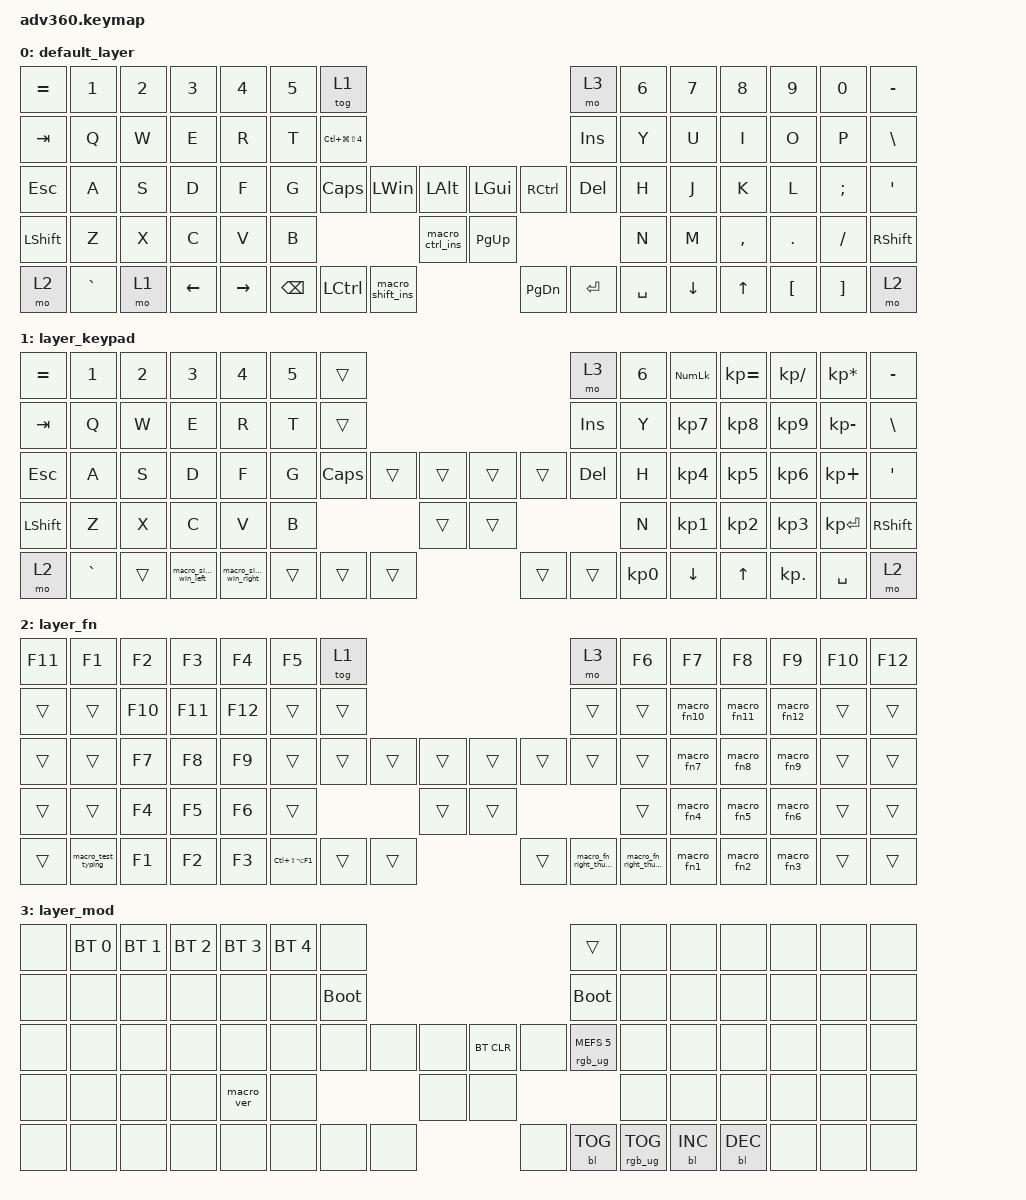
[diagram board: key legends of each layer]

/*
 * Copyright (c) 2020 The ZMK Contributors
 *
 * SPDX-License-Identifier: MIT
 */


/* THIS FILE WAS GENERATED!
 *
 * This file was generated automatically. You may or may not want to
 * edit it directly.
 */

#include <behaviors.dtsi>
#include <dt-bindings/zmk/keys.h>
#include <dt-bindings/zmk/bt.h>
#include <dt-bindings/zmk/rgb.h>
#include <dt-bindings/zmk/backlight.h>

/ {
  behaviors {
    #include "macros.dtsi"
    #include "version.dtsi"

    hm: homerow_mods {
        compatible = "zmk,behavior-hold-tap";
        label = "HOMEROW_MODS";
        #binding-cells = <2>;
        tapping-term-ms = <200>;
        quick_tap_ms = <175>;
        flavor = "tap-preferred";
        bindings = <&kp>, <&kp>;
    };
  };

    keymap {
        compatible = "zmk,keymap";


        default_layer {
            bindings = <
 &kp EQUAL     &kp N1  &kp N2    &kp N3     &kp N4  &kp N5                              &tog 1                                                                                 &mo 3  &kp N6    &kp N7     &kp N8    &kp N9    &kp N0  &kp MINUS
   &kp TAB      &kp Q   &kp W     &kp E      &kp R   &kp T            &kp LC(LG(LS(NUMBER_4)))                                                                            &kp INSERT   &kp Y     &kp U      &kp I     &kp O     &kp P   &kp BSLH
   &kp ESC      &kp A   &kp S     &kp D      &kp F   &kp G                            &kp CAPS      &kp LEFT_WIN          &kp LALT                   &kp LGUI  &kp RCTRL  &kp DELETE   &kp H     &kp J      &kp K     &kp L  &kp SEMI    &kp SQT
 &kp LSHFT      &kp Z   &kp X     &kp C      &kp V   &kp B                                                         &macro_ctrl_ins                  &kp PG_UP                          &kp N     &kp M  &kp COMMA   &kp DOT  &kp FSLH  &kp RSHFT
     &mo 2  &kp GRAVE   &mo 1  &kp LEFT  &kp RIGHT                                    &kp BSPC  &kp LEFT_CONTROL  &macro_shift_ins                  &kp PG_DN  &kp ENTER   &kp SPACE          &kp DOWN     &kp UP  &kp LBKT  &kp RBKT      &mo 2
            >;
        };

        layer_keypad {
            bindings = <
 &kp EQUAL     &kp N1  &kp N2                 &kp N3                  &kp N4  &kp N5              &trans                                                       &mo 3  &kp N6  &kp KP_NUM  &kp KP_EQUAL  &kp KP_DIVIDE  &kp KP_MULTIPLY  &kp MINUS
   &kp TAB      &kp Q   &kp W                  &kp E                   &kp R   &kp T              &trans                                                  &kp INSERT   &kp Y   &kp KP_N7     &kp KP_N8      &kp KP_N9     &kp KP_MINUS   &kp BSLH
   &kp ESC      &kp A   &kp S                  &kp D                   &kp F   &kp G            &kp CAPS  &trans  &trans                  &trans  &trans  &kp DELETE   &kp H   &kp KP_N4     &kp KP_N5      &kp KP_N6      &kp KP_PLUS    &kp SQT
 &kp LSHFT      &kp Z   &kp X                  &kp C                   &kp V   &kp B                              &trans                  &trans                       &kp N   &kp KP_N1     &kp KP_N2      &kp KP_N3     &kp KP_ENTER  &kp RSHFT
     &mo 2  &kp GRAVE  &trans  &macro_simon_win_left  &macro_simon_win_right                      &trans  &trans  &trans                  &trans  &trans   &kp KP_N0            &kp DOWN        &kp UP     &kp KP_DOT        &kp SPACE      &mo 2
            >;
        };

        layer_fn {
            bindings = <
 &kp F11              &kp F1   &kp F2   &kp F3   &kp F4  &kp F5                        &tog 1                                                                                   &mo 3  &kp F6       &kp F7       &kp F8       &kp F9  &kp F10  &kp F12
  &trans              &trans  &kp F10  &kp F11  &kp F12  &trans                        &trans                                                                                  &trans  &trans  &macro_fn10  &macro_fn11  &macro_fn12   &trans   &trans
  &trans              &trans   &kp F7   &kp F8   &kp F9  &trans                        &trans  &trans  &trans                  &trans                  &trans                  &trans  &trans   &macro_fn7   &macro_fn8   &macro_fn9   &trans   &trans
  &trans              &trans   &kp F4   &kp F5   &kp F6  &trans                                        &trans                  &trans                                                  &trans   &macro_fn4   &macro_fn5   &macro_fn6   &trans   &trans
  &trans  &macro_test_typing   &kp F1   &kp F2   &kp F3                    &kp LC(LS(LA(F1)))  &trans  &trans                  &trans  &macro_fn_right_thumb2  &macro_fn_right_thumb1           &macro_fn1   &macro_fn2   &macro_fn3   &trans   &trans
            >;
        };

        layer_mod {
            bindings = <
  &none  &bt BT_SEL 0  &bt BT_SEL 1  &bt BT_SEL 2  &bt BT_SEL 3  &bt BT_SEL 4                  &none                                                                          &trans   &none       &none       &none   &none   &none   &none
  &none         &none         &none         &none         &none         &none            &bootloader                                                                     &bootloader   &none       &none       &none   &none   &none   &none
  &none         &none         &none         &none         &none         &none                  &none   &none   &none                  &bt BT_CLR       &none  &rgb_ug RGB_MEFS_CMD 5   &none       &none       &none   &none   &none   &none
  &none         &none         &none         &none    &macro_ver         &none                                  &none                       &none                                       &none       &none       &none   &none   &none   &none
  &none         &none         &none         &none         &none                                &none   &none   &none                       &none  &bl BL_TOG         &rgb_ug RGB_TOG          &bl BL_INC  &bl BL_DEC   &none   &none   &none
            >;
        };

    };
};
